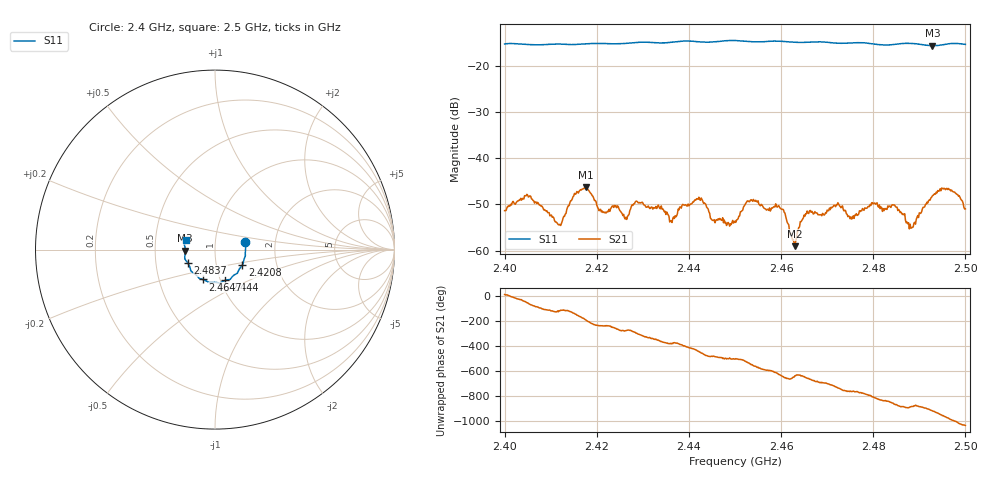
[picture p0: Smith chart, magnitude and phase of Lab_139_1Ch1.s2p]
# Hz S RI R 50
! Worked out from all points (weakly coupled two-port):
!   601 points, 2.4 GHz to 2.5 GHz, reference 50 ohm
!   highest |S21| = -46.31 dB at 2.4177 GHz (marker M1); lowest = -59.1 dB at 2.463 GHz (marker M2)
!   lowest |S11| = -15.6 dB at 2.4928 GHz (marker M3), VSWR 1.40, Z = 35.8 - j0.375 ohm
!   |S11| at or under -10 dB: start of sweep to end of sweep
!   S12 and S22 are empty: the file has one direction only
!   S11 on the Smith chart (normalised r, x): 2.4 GHz: 1.40, +0.12; 2.4208 GHz: 1.33, -0.24; 2.444 GHz: 1.06, -0.37; 2.4647 GHz: 0.83, -0.29; 2.4837 GHz: 0.73, -0.11; 2.5 GHz: 0.72, +0.08
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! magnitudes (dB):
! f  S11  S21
! 2.4 GHz  -15.2  -51.4
! 2.4052 GHz  -15.4  -48.4
! 2.412 GHz  -15.3  -54.3
! 2.4167 GHz  -15.3  -46.9
! 2.4177 GHz  -15.2  -46.3
! 2.4208 GHz  -15.1  -51.1
! 2.4333 GHz  -15.0  -50.1
! 2.4363 GHz  -14.9  -53.9
! 2.4417 GHz  -14.7  -48.8
! 2.444 GHz  -14.9  -50.8
! 2.45 GHz  -14.5  -53.6
! 2.453 GHz  -14.7  -49.4
! 2.4593 GHz  -14.6  -50.4
! 2.463 GHz  -14.9  -59.1
! 2.4647 GHz  -14.9  -53.2
! 2.4667 GHz  -14.8  -51.5
! 2.4833 GHz  -15.5  -50.6
! 2.4837 GHz  -15.4  -50.4
! 2.4883 GHz  -15.1  -55.1
! 2.4928 GHz  -15.6  -48.2
! 2.4965 GHz  -15.2  -46.8
! 2.5 GHz  -15.3  -51.0
